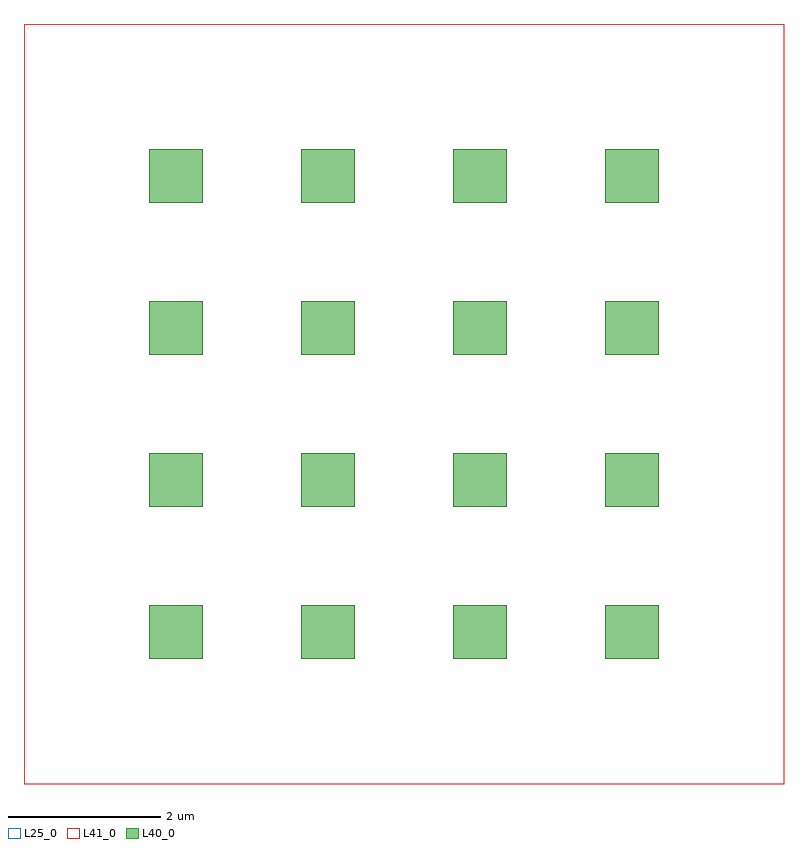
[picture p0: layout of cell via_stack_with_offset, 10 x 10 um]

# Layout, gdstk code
import gdstk
lib = gdstk.Library(unit=1e-6, precision=1e-09)
def R(c, l, rs):  # rectangles x0, y0, x1, y1
    for r in rs: c.add(gdstk.rectangle(r[:2], r[2:], *l))
L25_0 = (25, 0)
L40_0 = (40, 0)
L41_0 = (41, 0)

via_layer40_0 = lib.new_cell('via_layer40_0')
R(via_layer40_0, L40_0, [(-0.35,-0.35,0.35,0.35)])

via_stack_with_offset = lib.new_cell('via_stack_with_offset')
R(via_stack_with_offset, L25_0, [(-5,0,5,10), (-5,0,5,10)])
R(via_stack_with_offset, L41_0, [(-5,0,5,10), (-5,0,5,10)])
via_stack_with_offset.add(gdstk.Reference(via_layer40_0, (-3,2)))
via_stack_with_offset.add(gdstk.Reference(via_layer40_0, (-3,4)))
via_stack_with_offset.add(gdstk.Reference(via_layer40_0, (-3,6)))
via_stack_with_offset.add(gdstk.Reference(via_layer40_0, (-3,8)))
via_stack_with_offset.add(gdstk.Reference(via_layer40_0, (-1,2)))
via_stack_with_offset.add(gdstk.Reference(via_layer40_0, (-1,4)))
via_stack_with_offset.add(gdstk.Reference(via_layer40_0, (-1,6)))
via_stack_with_offset.add(gdstk.Reference(via_layer40_0, (-1,8)))
via_stack_with_offset.add(gdstk.Reference(via_layer40_0, (1,2)))
via_stack_with_offset.add(gdstk.Reference(via_layer40_0, (1,4)))
via_stack_with_offset.add(gdstk.Reference(via_layer40_0, (1,6)))
via_stack_with_offset.add(gdstk.Reference(via_layer40_0, (1,8)))
via_stack_with_offset.add(gdstk.Reference(via_layer40_0, (3,2)))
via_stack_with_offset.add(gdstk.Reference(via_layer40_0, (3,4)))
via_stack_with_offset.add(gdstk.Reference(via_layer40_0, (3,6)))
via_stack_with_offset.add(gdstk.Reference(via_layer40_0, (3,8)))

lib.write_gds('via_stack_with_offset.gds')
